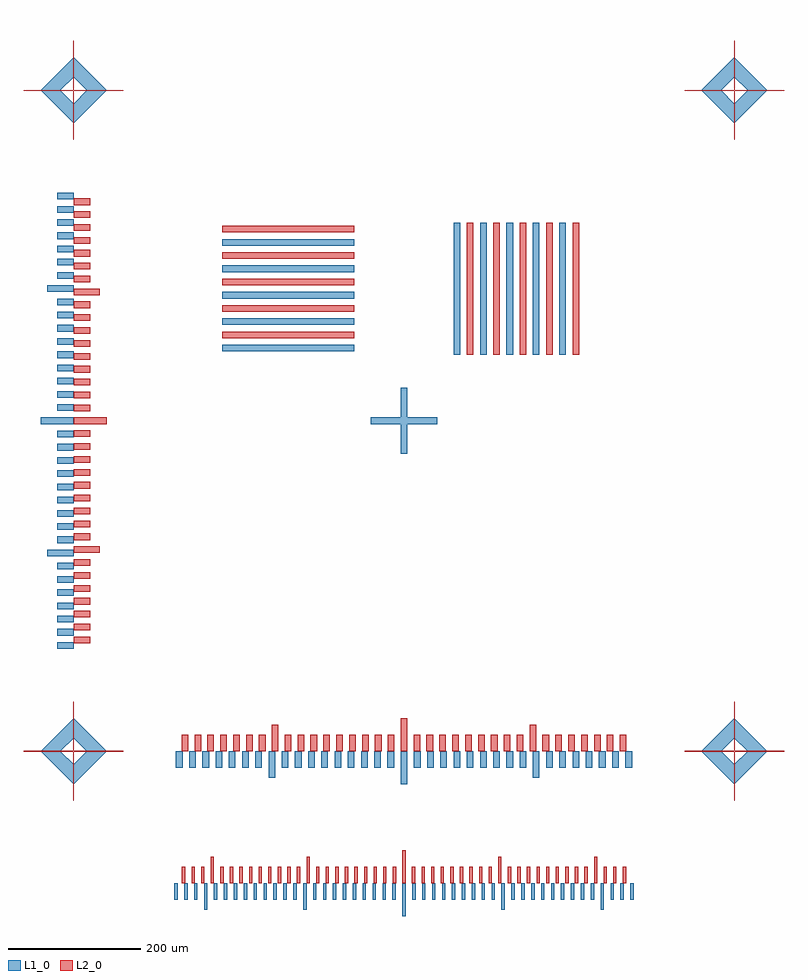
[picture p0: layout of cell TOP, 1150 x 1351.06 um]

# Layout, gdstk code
import gdstk
lib = gdstk.Library(unit=1e-6, precision=1e-09)
def R(c, l, rs):  # rectangles x0, y0, x1, y1
    for r in rs: c.add(gdstk.rectangle(r[:2], r[2:], *l))
def A(c, l, x, y, w, h, nx, ny, dx, dy):  # array of equal rectangles
    R(c, l, [(x+i*dx, y+j*dy, x+i*dx+w, y+j*dy+h) for i in range(nx) for j in range(ny)])
def P(c, l, *ps):  # polygons
    for p in ps: c.add(gdstk.Polygon(p, *l))
L1_0 = (1, 0)
L2_0 = (2, 0)

topcell = lib.new_cell('TopCell')
A(topcell, L1_0, -347.5, -725, 5, 25, 3, 1, 15, 0)
A(topcell, L1_0, -287.5, -725, 5, 25, 9, 1, 15, 0)
A(topcell, L1_0, -137.5, -725, 5, 25, 9, 1, 15, 0)
A(topcell, L1_0, 12.5, -725, 5, 25, 9, 1, 15, 0)
A(topcell, L1_0, 162.5, -725, 5, 25, 9, 1, 15, 0)
A(topcell, L1_0, 312.5, -725, 5, 25, 3, 1, 15, 0)
A(topcell, L1_0, -345, -525, 10, 25, 7, 1, 20, 0)
A(topcell, L1_0, -185, -525, 10, 25, 9, 1, 20, 0)
A(topcell, L1_0, 15, -525, 10, 25, 9, 1, 20, 0)
A(topcell, L1_0, 215, -525, 10, 25, 7, 1, 20, 0)
A(topcell, L1_0, -525, -345, 25, 10, 1, 7, 0, 20)
A(topcell, L1_0, -525, -185, 25, 10, 1, 9, 0, 20)
A(topcell, L1_0, -525, 15, 25, 10, 1, 9, 0, 20)
A(topcell, L1_0, 75, 100, 10, 200, 5, 1, 40, 0)
A(topcell, L1_0, -275, 105, 200, 10, 1, 5, 0, 40)
A(topcell, L1_0, -525, 215, 25, 10, 1, 7, 0, 20)
R(topcell, L1_0, [(-2.5,-750,2.5,-700), (-302.5,-740,-297.5,-700), (-152.5,-740,-147.5,-700), (147.5,-740,152.5,-700), (297.5,-740,302.5,-700), (-5,-550,5,-500), (-205,-540,-195,-500), (195,-540,205,-500), (-540,-205,-500,-195), (-5,-50,5,50), (-550,-5,-500,5), (-50,-5,50,5), (-540,195,-500,205)])
A(topcell, L2_0, -336, -700, 5, 25, 3, 1, 14.5, 0)
A(topcell, L2_0, -278, -700, 5, 25, 9, 1, 14.5, 0)
A(topcell, L2_0, -133, -700, 5, 25, 9, 1, 14.5, 0)
A(topcell, L2_0, 12, -700, 5, 25, 9, 1, 14.5, 0)
A(topcell, L2_0, 157, -700, 5, 25, 9, 1, 14.5, 0)
A(topcell, L2_0, 302, -700, 5, 25, 3, 1, 14.5, 0)
A(topcell, L2_0, -336.5, -500, 10, 25, 7, 1, 19.5, 0)
A(topcell, L2_0, -180.5, -500, 10, 25, 9, 1, 19.5, 0)
A(topcell, L2_0, 14.5, -500, 10, 25, 9, 1, 19.5, 0)
A(topcell, L2_0, 209.5, -500, 10, 25, 7, 1, 19.5, 0)
A(topcell, L2_0, -500, -336.5, 25, 10, 1, 7, 0, 19.5)
A(topcell, L2_0, -500, -180.5, 25, 10, 1, 9, 0, 19.5)
A(topcell, L2_0, -500, 14.5, 25, 10, 1, 9, 0, 19.5)
A(topcell, L2_0, 95, 100, 10, 200, 5, 1, 40, 0)
A(topcell, L2_0, -275, 125, 200, 10, 1, 5, 0, 40)
A(topcell, L2_0, -500, 209.5, 25, 10, 1, 7, 0, 19.5)
R(topcell, L2_0, [(-292.5,-700,-287.5,-660), (-147.5,-700,-142.5,-660), (-2.5,-700,2.5,-650), (142.5,-700,147.5,-660), (287.5,-700,292.5,-660), (-200,-500,-190,-460), (-5,-500,5,-450), (190,-500,200,-460), (-500,-200,-460,-190), (-500,-5,-450,5), (-500,190,-460,200)])

top_1 = lib.new_cell('TOP$1')
P(top_1, L1_0, [(0,-50),(-50,0),(0,50),(0,20),(-20,0),(0,-20),(20,0),(0,20),(0,50),(50,0)],
  [(8.369,101.056),(8.369,101.056),(8.369,101.056),(8.369,101.056)])
R(top_1, L2_0, [(-0.5,-75,0.5,75), (-75,-0.5,75,0.5)])

top_2 = lib.new_cell('TOP$2')
P(top_2, L1_0, [(0,-50),(-50,0),(0,50),(0,20),(-20,0),(0,-20),(20,0),(0,20),(0,50),(50,0)],
  [(8.369,101.056),(8.369,101.056),(8.369,101.056),(8.369,101.056)])
R(top_2, L2_0, [(-0.5,-75,0.5,75), (-75,-0.5,75,0.5)])

top_3 = lib.new_cell('TOP$3')
P(top_3, L1_0, [(0,-50),(-50,0),(0,50),(0,20),(-20,0),(0,-20),(20,0),(0,20),(0,50),(50,0)],
  [(8.369,101.056),(8.369,101.056),(8.369,101.056),(8.369,101.056)])
R(top_3, L2_0, [(-0.5,-75,0.5,75), (-75,-0.5,75,0.5)])

top_4 = lib.new_cell('TOP$4')
P(top_4, L1_0, [(0,-50),(-50,0),(0,50),(0,20),(-20,0),(0,-20),(20,0),(0,20),(0,50),(50,0)],
  [(8.369,101.056),(8.369,101.056),(8.369,101.056),(8.369,101.056)])
R(top_4, L2_0, [(-0.5,-75,0.5,75), (-75,-0.5,75,0.5)])

top = lib.new_cell('TOP')
top.add(gdstk.Reference(topcell, (0,0)))
top.add(gdstk.Reference(top_1, (500,500)))
top.add(gdstk.Reference(top_2, (-500,500)))
top.add(gdstk.Reference(top_3, (500,-500)))
top.add(gdstk.Reference(top_4, (-500,-500)))

lib.write_gds('TOP.gds')
